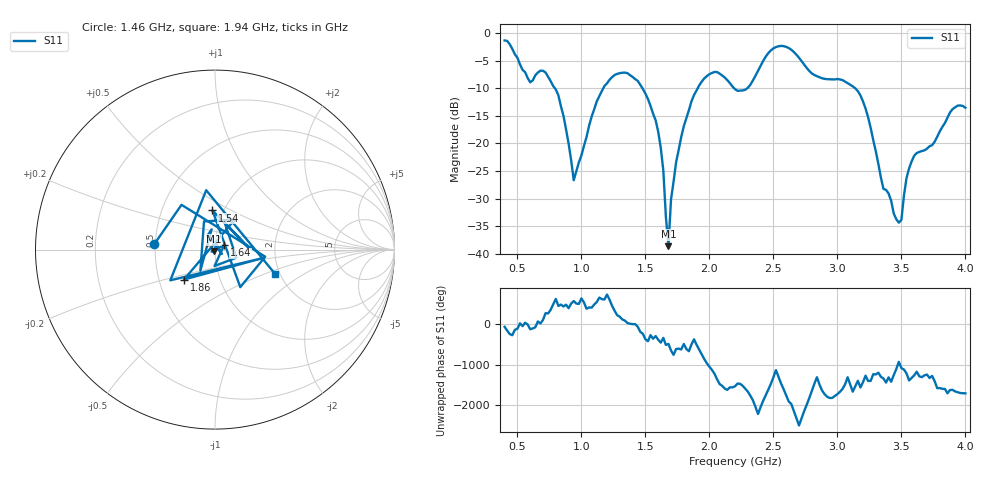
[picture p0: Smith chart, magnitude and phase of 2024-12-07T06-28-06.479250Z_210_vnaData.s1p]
!Created with skrf (http://scikit-rf.org).
# Hz S RI R 50.0
!freq ReS11 ImS11
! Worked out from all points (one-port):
!   181 points, 400 MHz to 4 GHz, reference 50 ohm
!   lowest |S11| = -38.6 dB at 1.68 GHz (marker M1), VSWR 1.02, Z = 49.4 - j0.974 ohm
!   |S11| at or under -10 dB: 792.2 MHz to 1.171 GHz (379.1 MHz wide, 38.6 % of centre); 1.477 GHz to 1.909 GHz (432.4 MHz wide, 25.5 % of centre); 3.138 GHz to end of sweep (the widest 3 of 4)
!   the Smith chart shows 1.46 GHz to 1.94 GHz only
!   S11 on the Smith chart (normalised r, x): 1.46 GHz: 0.49, +0.03; 1.54 GHz: 0.89, +0.41; 1.64 GHz: 1.11, +0.06; 1.86 GHz: 0.67, -0.24; 1.94 GHz: 1.89, -0.59
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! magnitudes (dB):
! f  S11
! 400 MHz  -1.4
! 600 MHz  -8.9
! 720 MHz  -7.2
! 860 MHz  -15.0
! 940 MHz  -26.7
! 1.12 GHz  -12.4
! 1.3 GHz  -7.3
! 1.46 GHz  -9.4
! 1.54 GHz  -13.2
! 1.6 GHz  -17.9
! 1.64 GHz  -24.9
! 1.68 GHz  -38.6
! 1.7 GHz  -30.2
! 1.76 GHz  -21.2
! 1.86 GHz  -12.4
! 1.94 GHz  -8.8
! 2.06 GHz  -7.1
! 2.2 GHz  -10.2
! 2.5 GHz  -2.8
! 2.66 GHz  -3.5
! 3.1 GHz  -9.4
! 3.22 GHz  -13.7
! 3.36 GHz  -28.2
! 3.46 GHz  -33.7
! 3.5 GHz  -33.8
! 3.56 GHz  -24.5
! 3.9 GHz  -13.8
! 4 GHz  -13.6
